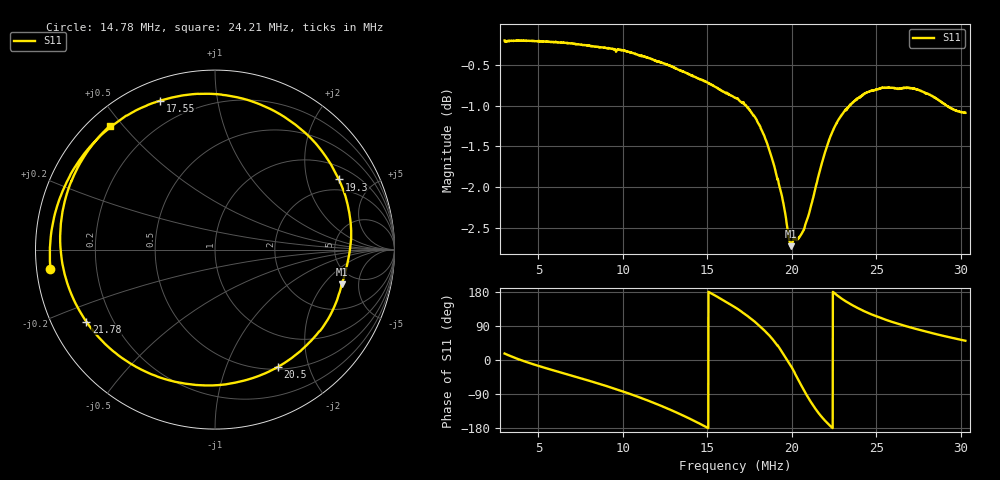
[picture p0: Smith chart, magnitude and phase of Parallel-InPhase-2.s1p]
# HZ S RI R 50
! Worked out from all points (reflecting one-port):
!   2727 points, 3 MHz to 30.27 MHz, reference 50 ohm
!   lowest |S11| = -2.7 dB at 19.94 MHz (marker M1), VSWR 6.44, Z = 187 - j155 ohm
!   phase of S11 starts at 17 deg and turns -686 deg over the sweep
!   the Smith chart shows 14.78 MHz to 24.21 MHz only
!   S11 on the Smith chart (normalised r, x): 14.78 MHz: 0.04, -0.06; 17.55 MHz: 0.09, +0.69; 19.3 MHz: 1.49, +3.14; 20.5 MHz: 0.53, -1.54; 21.78 MHz: 0.10, -0.26; 24.21 MHz: 0.06, +0.46
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3000000  0.9338 0.287
4510604  0.9653 -0.1454
6411364  0.8062 -0.5462
8202080  0.5216 -0.8167
9822728  0.163 -0.9503
1.159344e7  -0.3093 -0.901
1.323409e7  -0.7162 -0.6055
1.478471e7  -0.9169 -0.1056
1.572509e7  -0.8744 0.259
1.663545e7  -0.6817 0.5892
1.754582e7  -0.3066 0.8296
1.84962e7  0.2499 0.8094
1.886634e7  0.4795 0.6706
1.929652e7  0.69 0.3907
1.960664e7  0.7587 0.1048
1.993677e7  0.7051 -0.1931
2.004682e7  0.6744 -0.2944
2.0497e7  0.349 -0.6547
2.07671e7  0.0783 -0.7474
2.104722e7  -0.204 -0.7399
2.142737e7  -0.5202 -0.6024
2.177751e7  -0.7174 -0.401
2.247779e7  -0.862 0.0306
2.345818e7  -0.7535 0.4785
2.420848e7  -0.5864 0.6893
2.539896e7  -0.2924 0.8657
2.686954e7  0.0343 0.9132
3.02709e7  0.5574 0.6837
